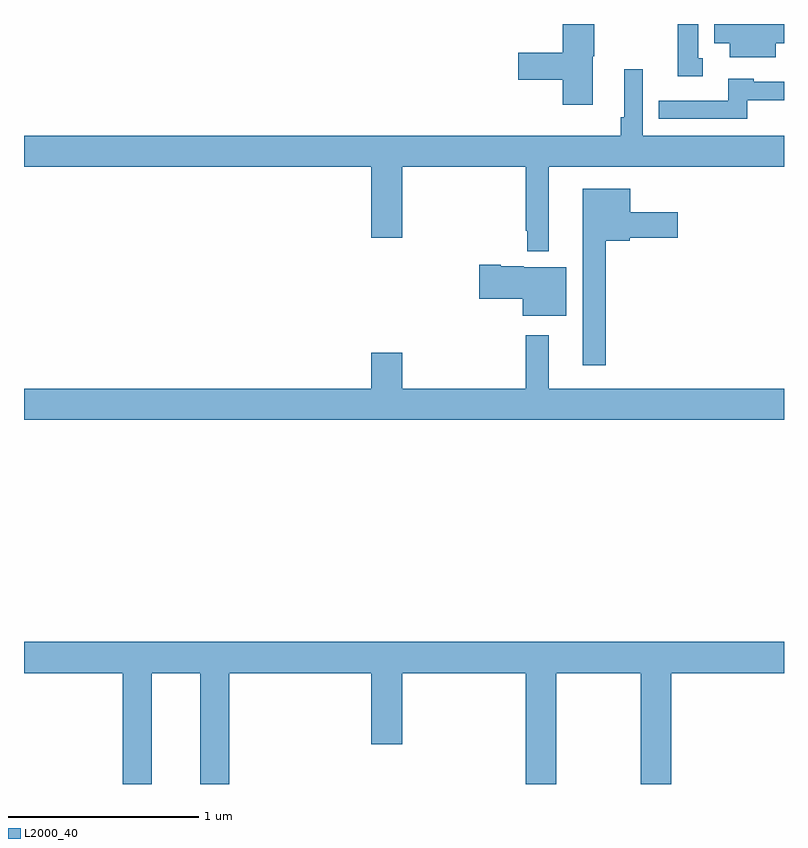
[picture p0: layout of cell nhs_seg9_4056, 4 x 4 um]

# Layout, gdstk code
import gdstk
lib = gdstk.Library(unit=1e-6, precision=1e-09)
def P(c, l, *ps):  # polygons
    for p in ps: c.add(gdstk.Polygon(p, *l))
L2000_40 = (2000, 40)

nhs_seg9_4056 = lib.new_cell('nhs_seg9_4056')
P(nhs_seg9_4056, L2000_40, [(345.994,1202.331),(346.002,1202.331),(346.002,1202.5),(345.836,1202.5),(345.836,1202.348),(345.6,1202.348),(345.6,1202.206),(345.836,1202.206),(345.836,1202.076),(345.994,1202.076)],
  [(346.573,1202.319),(346.548,1202.319),(346.548,1202.5),(346.44,1202.5),(346.44,1202.225),(346.573,1202.225)],
  [(346.957,1202.399),(347,1202.399),(347,1202.5),(346.633,1202.5),(346.633,1202.399),(346.715,1202.399),(346.715,1202.324),(346.957,1202.324)],
  [(345.763,1201.748),(347,1201.748),(347,1201.912),(346.257,1201.912),(346.257,1202.263),(346.16,1202.263),(346.16,1202.008),(346.141,1202.008),(346.141,1201.912),(343,1201.912),(343,1201.748),(344.828,1201.748),(344.828,1201.374),(344.992,1201.374),(344.992,1201.748),(345.642,1201.748),(345.642,1201.411),(345.649,1201.411),(345.649,1201.304),(345.763,1201.304)],
  [(346.806,1202.1),(347,1202.1),(347,1202.196),(346.842,1202.196),(346.842,1202.212),(346.706,1202.212),(346.706,1202.097),(346.342,1202.097),(346.342,1202.001),(346.806,1202.001)],
  [(346.063,1201.358),(346.188,1201.358),(346.188,1201.376),(346.441,1201.376),(346.441,1201.51),(346.192,1201.51),(346.192,1201.633),(345.941,1201.633),(345.941,1200.705),(346.063,1200.705)],
  [(345.853,1201.219),(345.63,1201.219),(345.63,1201.225),(345.508,1201.225),(345.508,1201.232),(345.396,1201.232),(345.396,1201.054),(345.626,1201.054),(345.626,1200.965),(345.853,1200.965)],
  [(347,1200.58),(345.763,1200.58),(345.763,1200.862),(345.642,1200.862),(345.642,1200.58),(344.992,1200.58),(344.992,1200.769),(344.828,1200.769),(344.828,1200.58),(343,1200.58),(343,1200.416),(347,1200.416)],
  [(343.672,1199.084),(343.928,1199.084),(343.928,1198.5),(344.081,1198.5),(344.081,1199.084),(344.828,1199.084),(344.828,1198.71),(344.992,1198.71),(344.992,1199.084),(345.641,1199.084),(345.641,1198.5),(345.801,1198.5),(345.801,1199.084),(346.246,1199.084),(346.246,1198.5),(346.406,1198.5),(346.406,1199.084),(347,1199.084),(347,1199.248),(343,1199.248),(343,1199.084),(343.52,1199.084),(343.52,1198.5),(343.672,1198.5)])

lib.write_gds('nhs_seg9_4056.gds')
